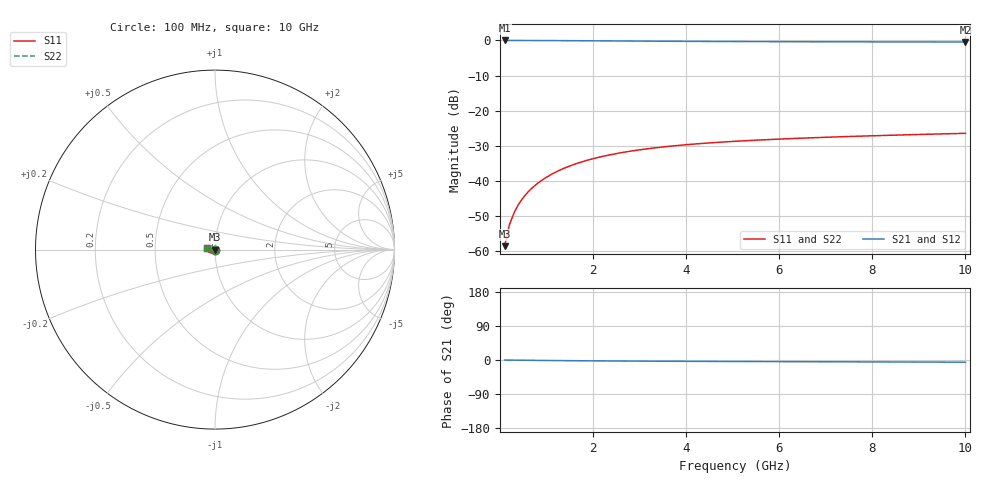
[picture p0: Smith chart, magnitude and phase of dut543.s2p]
! Touchstone file exported from HFSS 2024.1.0
!  File:  C:/UserFiles/LocalFiles/RDL_TSV_Batchsim/temp_TSV1_543_1779705553.aedt
!  Generated:  06:44:32 PM May 25, 2026
!  Design:  TSV1
!  Project:  temp_TSV1_543_1779705553
!  Setup:  Setup1
!  Solution:  Sweep
! Variables:
!  dtsv = 8.65um
!  hbump = 3um
!  htsv = 91.21um
!  lrdl = 252.1521522um
!  p = 40
!  p1 = 49.88um
!  t = 500um
!  trdl = 3um
!  wrdl = 24.89489489um
# GHz S MA R 50.000000
! Terminal data exported
! Port[1] = TSV22_T1
! Port[2] = TSV22_T2
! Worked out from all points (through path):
!   100 points, 100 MHz to 10 GHz, reference 50 ohm
!   highest |S21| = 0.00 dB at 100 MHz (marker M1); lowest = -0.4 dB at 10 GHz (marker M2)
!   lowest |S11| = -58.6 dB at 100 MHz (marker M3), VSWR 1.00, Z = 50 - j0.116 ohm
!   |S11| at or under -10 dB: start of sweep to end of sweep
!   |S22| runs from -58.6 to -26.5 dB; largest |S21 - S12| = 4e-15
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0.1  0.00117 -81.5  0.9997 -0.1  0.9997 -0.1  0.00117 -81.5
! Gamma 0 0 0 0
! Port Impedance 50 0 50 0
0.2  0.002317 -88.3  0.9996 -0.3  0.9996 -0.3  0.002317 -88.3
0.3  0.003469 -91.8  0.9994 -0.4  0.9994 -0.4  0.003469 -91.8
0.4  0.004618 -94.6  0.9991 -0.5  0.9991 -0.5  0.004618 -94.6
0.5  0.005759 -96.9  0.9988 -0.6  0.9988 -0.6  0.005759 -96.9
0.6  0.006888 -99.1  0.9984 -0.8  0.9984 -0.8  0.006888 -99.1
0.7  0.008004 -101.2  0.9979 -0.9  0.9979 -0.9  0.008004 -101.2
0.8  0.009104 -103.2  0.9974 -1.0  0.9974 -1.0  0.009104 -103.2
0.9  0.01019 -105.2  0.9968 -1.1  0.9968 -1.1  0.01019 -105.2
1.1  0.0123 -108.9  0.9955 -1.4  0.9955 -1.4  0.0123 -108.9
1.4  0.01529 -114.3  0.9932 -1.7  0.9932 -1.7  0.01529 -114.3
1.6  0.01718 -117.7  0.9915 -1.9  0.9915 -1.9  0.01718 -117.7
1.8  0.01896 -120.9  0.9897 -2.1  0.9897 -2.1  0.01896 -120.9
2.1  0.02144 -125.6  0.987 -2.3  0.987 -2.3  0.02144 -125.6
2.5  0.02441 -131.4  0.9833 -2.6  0.9833 -2.6  0.02441 -131.4
2.9  0.02702 -136.8  0.9798 -2.9  0.9798 -2.9  0.02702 -136.8
3.4  0.02983 -142.9  0.9757 -3.2  0.9757 -3.2  0.02983 -142.9
4.2  0.03348 -151.5  0.9699 -3.6  0.9699 -3.6  0.03348 -151.5
5.1  0.0367 -159.8  0.9647 -4.0  0.9647 -4.0  0.0367 -159.8
6.7  0.041 -171.9  0.958 -4.6  0.958 -4.6  0.041 -171.9
8.4  0.04456 177.7  0.9532 -5.2  0.9532 -5.2  0.04455 177.7
10  0.04749 169.5  0.9502 -5.8  0.9502 -5.8  0.04749 169.5
